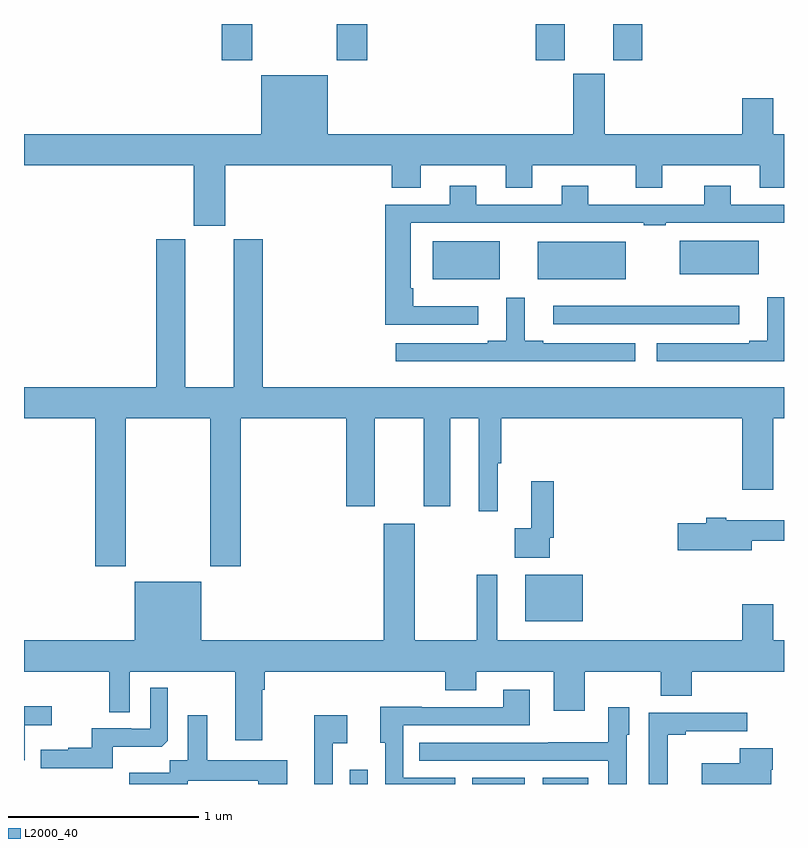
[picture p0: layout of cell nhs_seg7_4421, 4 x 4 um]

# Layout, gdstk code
import gdstk
lib = gdstk.Library(unit=1e-6, precision=1e-09)
def R(c, l, rs):  # rectangles x0, y0, x1, y1
    for r in rs: c.add(gdstk.rectangle(r[:2], r[2:], *l))
def P(c, l, *ps):  # polygons
    for p in ps: c.add(gdstk.Polygon(p, *l))
L2000_40 = (2000, 40)

nhs_seg7_4421 = lib.new_cell('nhs_seg7_4421')
R(nhs_seg7_4421, L2000_40, [(390.714,1024,390.81,1024.075), (391.358,1024,391.636,1024.033), (391.73,1024,391.969,1024.033), (391.637,1024.856,391.942,1025.101), (391.785,1026.42,392.764,1026.517), (391.151,1026.656,391.504,1026.856), (391.703,1026.656,392.167,1026.853), (392.45,1026.683,392.866,1026.859), (390.041,1027.809,390.201,1028), (390.646,1027.809,390.806,1028), (391.694,1027.809,391.846,1028), (392.102,1027.809,392.255,1028)])
P(nhs_seg7_4421, L2000_40, [(390.058,1027.256),(390.935,1027.256),(390.935,1027.139),(391.087,1027.139),(391.087,1027.256),(391.535,1027.256),(391.535,1027.139),(391.675,1027.139),(391.675,1027.256),(392.219,1027.256),(392.219,1027.139),(392.359,1027.139),(392.359,1027.256),(392.873,1027.256),(392.873,1027.139),(393,1027.139),(393,1027.42),(392.944,1027.42),(392.944,1027.609),(392.78,1027.609),(392.78,1027.42),(392.056,1027.42),(392.056,1027.737),(391.892,1027.737),(391.892,1027.42),(390.598,1027.42),(390.598,1027.729),(390.248,1027.729),(390.248,1027.42),(389,1027.42),(389,1027.256),(389.894,1027.256),(389.894,1026.939),(390.058,1026.939)],
  [(391.39,1026.514),(391.049,1026.514),(391.049,1026.61),(391.036,1026.61),(391.036,1026.954),(392.263,1026.954),(392.263,1026.942),(392.378,1026.942),(392.378,1026.954),(392.962,1026.954),(392.962,1026.953),(393,1026.953),(393,1027.05),(392.719,1027.05),(392.719,1027.15),(392.579,1027.15),(392.579,1027.05),(391.969,1027.05),(391.969,1027.15),(391.829,1027.15),(391.829,1027.05),(391.381,1027.05),(391.381,1027.15),(391.241,1027.15),(391.241,1027.05),(390.902,1027.05),(390.902,1026.417),(391.39,1026.417)],
  [(389.535,1025.924),(389.98,1025.924),(389.98,1025.145),(390.14,1025.145),(390.14,1025.924),(390.695,1025.924),(390.695,1025.463),(390.847,1025.463),(390.847,1025.924),(391.103,1025.924),(391.103,1025.463),(391.243,1025.463),(391.243,1025.924),(391.394,1025.924),(391.394,1025.436),(391.493,1025.436),(391.493,1025.688),(391.511,1025.688),(391.511,1025.924),(392.78,1025.924),(392.78,1025.55),(392.944,1025.55),(392.944,1025.924),(393,1025.924),(393,1026.088),(390.257,1026.088),(390.257,1026.867),(390.104,1026.867),(390.104,1026.088),(389.848,1026.088),(389.848,1026.867),(389.696,1026.867),(389.696,1026.088),(389,1026.088),(389,1025.924),(389.375,1025.924),(389.375,1025.145),(389.535,1025.145)],
  [(393,1026.562),(392.912,1026.562),(392.912,1026.334),(392.816,1026.334),(392.816,1026.321),(392.331,1026.321),(392.331,1026.224),(393,1026.224)],
  [(392.218,1026.321),(391.732,1026.321),(391.732,1026.334),(391.636,1026.334),(391.636,1026.559),(391.538,1026.559),(391.538,1026.334),(391.442,1026.334),(391.442,1026.321),(390.957,1026.321),(390.957,1026.224),(392.218,1026.224)],
  [(391.767,1025.296),(391.787,1025.296),(391.787,1025.593),(391.67,1025.593),(391.67,1025.345),(391.584,1025.345),(391.584,1025.192),(391.767,1025.192)],
  [(392.83,1025.28),(393,1025.28),(393,1025.389),(392.695,1025.389),(392.695,1025.402),(392.591,1025.402),(392.591,1025.372),(392.442,1025.372),(392.442,1025.23),(392.83,1025.23)],
  [(389,1024.592),(389.448,1024.592),(389.448,1024.378),(389.556,1024.378),(389.556,1024.592),(390.113,1024.592),(390.113,1024.23),(390.253,1024.23),(390.253,1024.496),(390.266,1024.496),(390.266,1024.592),(391.217,1024.592),(391.217,1024.493),(391.381,1024.493),(391.381,1024.592),(391.787,1024.592),(391.787,1024.386),(391.951,1024.386),(391.951,1024.592),(392.351,1024.592),(392.351,1024.464),(392.515,1024.464),(392.515,1024.592),(393,1024.592),(393,1024.756),(392.944,1024.756),(392.944,1024.945),(392.78,1024.945),(392.78,1024.756),(391.492,1024.756),(391.492,1025.101),(391.383,1025.101),(391.383,1024.756),(391.057,1024.756),(391.057,1025.371),(390.893,1025.371),(390.893,1024.756),(389.932,1024.756),(389.932,1025.065),(389.582,1025.065),(389.582,1024.756),(389,1024.756)],
  [(389.467,1024.196),(389.725,1024.196),(389.757,1024.227),(389.757,1024.507),(389.664,1024.507),(389.664,1024.29),(389.564,1024.29),(389.564,1024.293),(389.357,1024.293),(389.357,1024.192),(389.233,1024.192),(389.233,1024.18),(389.089,1024.18),(389.089,1024.083),(389.467,1024.083)],
  [(391.269,1024.032),(390.996,1024.032),(390.996,1024.308),(391.663,1024.308),(391.663,1024.495),(391.523,1024.495),(391.523,1024.404),(391.093,1024.404),(391.093,1024.406),(390.875,1024.406),(390.875,1024.218),(390.9,1024.218),(390.9,1024),(391.269,1024)],
  [(389.004,1024.31),(389.146,1024.31),(389.146,1024.409),(389,1024.409),(389,1024.125),(389.004,1024.125)],
  [(392.172,1024.26),(392.185,1024.26),(392.185,1024.405),(392.076,1024.405),(392.076,1024.219),(391.759,1024.219),(391.759,1024.218),(391.081,1024.218),(391.081,1024.122),(392.076,1024.122),(392.076,1024),(392.172,1024)],
  [(392.387,1024.258),(392.482,1024.258),(392.482,1024.277),(392.806,1024.277),(392.806,1024.374),(392.289,1024.374),(392.289,1024),(392.387,1024)],
  [(390.624,1024.214),(390.7,1024.214),(390.7,1024.363),(390.527,1024.363),(390.527,1024),(390.624,1024)],
  [(389.862,1024.016),(390.233,1024.016),(390.233,1024),(390.385,1024),(390.385,1024.126),(389.965,1024.126),(389.965,1024.363),(389.861,1024.363),(389.861,1024.124),(389.766,1024.124),(389.766,1024.06),(389.555,1024.06),(389.555,1024),(389.862,1024)],
  [(392.932,1024.076),(392.94,1024.076),(392.94,1024.189),(392.767,1024.189),(392.767,1024.108),(392.567,1024.108),(392.567,1024),(392.932,1024)])

lib.write_gds('nhs_seg7_4421.gds')
